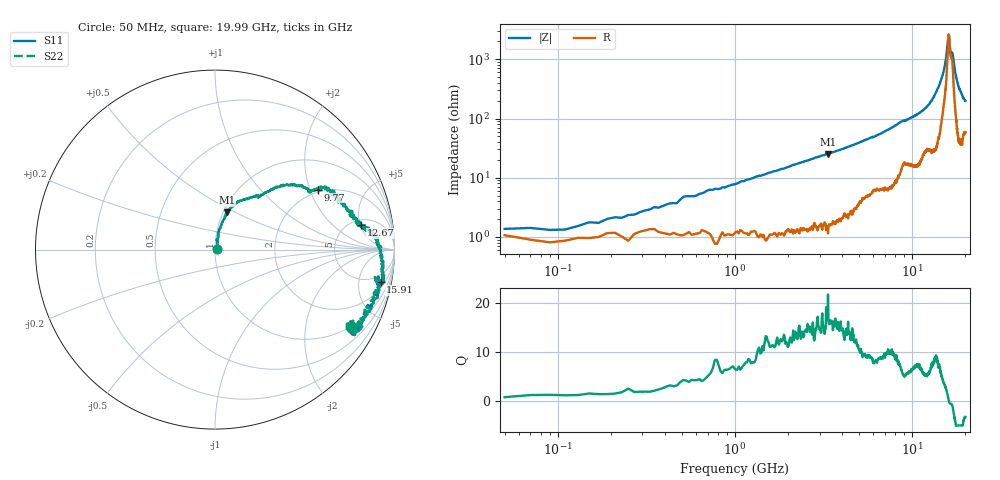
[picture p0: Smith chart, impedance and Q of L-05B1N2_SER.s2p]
! Data Taken on a HP 8720C VNA using a series-through fixture with TRL* de-embedding
#	mhz	s	ma	r	50
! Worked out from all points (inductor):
!   998 points, 50 MHz to 19.99 GHz, reference 50 ohm
!   read as one part in series: L = 1.31 nH near 430 MHz
!   highest Q = 16.3 at 3.35 GHz (marker M1), where L = 1.19 nH
!   self-resonance near 16.14 GHz
!   S11 on the Smith chart (normalised r, x): 50 MHz: 1.02, +0.00; 9.77 GHz: 1.91, +2.28; 12.67 GHz: 5.95, +5.19; 15.91 GHz: 3.04, -9.38; 19.99 GHz: 1.07, -3.47
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50  0.00991 5.7  0.9887 -0.9  0.9887 -0.9  0.00991 5.7
430  0.02971 65.9  0.9889 -2.4  0.9889 -2.4  0.02971 65.9
730  0.05463 76.8  0.9861 -3.9  0.9861 -3.9  0.05463 76.8
2030  0.1329 76.2  0.9762 -9.8  0.9762 -9.8  0.1329 76.2
3350  0.2182 72.2  0.9623 -15.5  0.9623 -15.5  0.2182 72.2
3390  0.2193 71.4  0.9545 -15.8  0.9545 -15.8  0.2193 71.4
6710  0.4334 48.0  0.873 -32.8  0.873 -32.8  0.4334 48.0
9770  0.6647 30.2  0.7021 -48.0  0.7021 -48.0  0.6647 30.2
10030  0.682 30.6  0.6884 -48.6  0.6884 -48.6  0.682 30.6
12670  0.8269 9.6  0.4675 -70.6  0.4675 -70.6  0.8269 9.6
13350  0.8857 5.6  0.3774 -77.5  0.3774 -77.5  0.8857 5.6
15070  0.9468 -8.4  0.1486 -83.2  0.1486 -83.2  0.9468 -8.4
15530  0.9535 -10.5  0.09222 -78.9  0.09222 -78.9  0.9535 -10.5
15910  0.9399 -11.0  0.04581 -57.1  0.04581 -57.1  0.9399 -11.0
16110  0.9355 -10.8  0.03551 -16.8  0.03551 -16.8  0.9355 -10.8
16470  0.9163 -10.7  0.06711 18.6  0.06711 18.6  0.9163 -10.7
16670  0.9029 -9.8  0.07211 20.4  0.07211 20.4  0.9029 -9.8
16910  0.9222 -10.1  0.07307 38.5  0.07307 38.5  0.9222 -10.1
17450  0.9453 -16.5  0.1441 59.8  0.1441 59.8  0.9453 -16.5
18130  0.9149 -25.9  0.2318 56.9  0.2318 56.9  0.9149 -25.9
18790  0.9039 -30.9  0.2995 51.7  0.2995 51.7  0.9039 -30.9
19990  0.8587 -29.7  0.412 42.7  0.412 42.7  0.8587 -29.7
